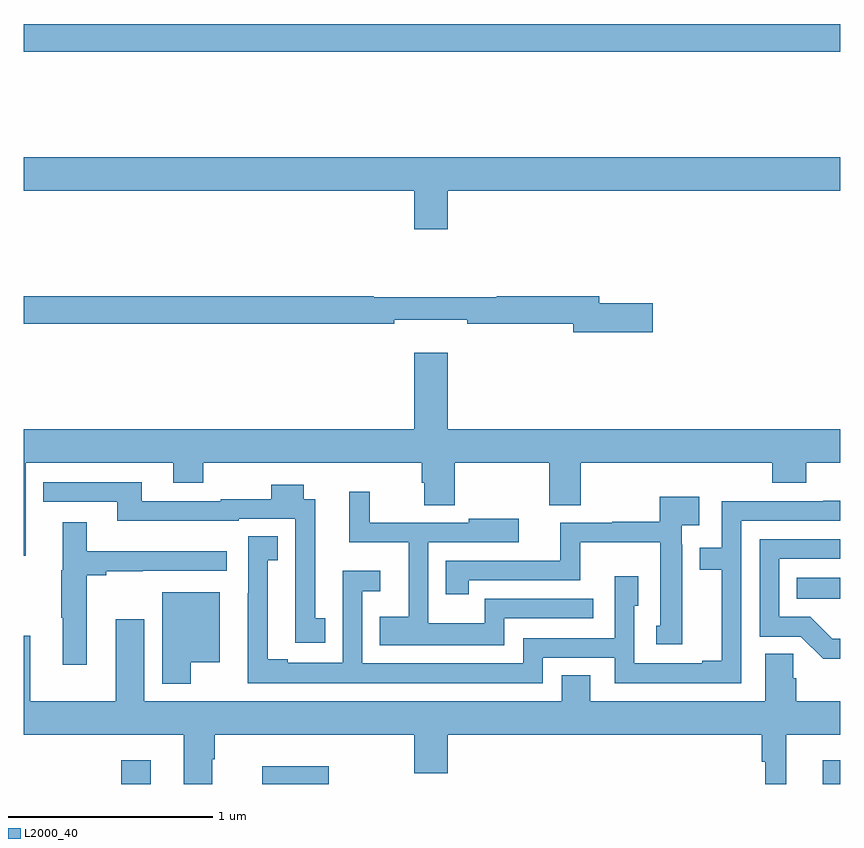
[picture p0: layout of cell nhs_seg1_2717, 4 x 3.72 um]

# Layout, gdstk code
import gdstk
lib = gdstk.Library(unit=1e-6, precision=1e-09)
def R(c, l, rs):  # rectangles x0, y0, x1, y1
    for r in rs: c.add(gdstk.rectangle(r[:2], r[2:], *l))
def P(c, l, *ps):  # polygons
    for p in ps: c.add(gdstk.Polygon(p, *l))
L2000_40 = (2000, 40)

nhs_seg1_2717 = lib.new_cell('nhs_seg1_2717')
R(nhs_seg1_2717, L2000_40, [(259.478,510.199,259.624,510.316), (260.169,510.199,260.494,510.286), (262.913,510.199,263,510.316), (262.786,511.106,263,511.21), (259,513.784,263,513.92)])
P(nhs_seg1_2717, L2000_40, [(261.076,513.104),(263,513.104),(263,513.268),(259,513.268),(259,513.104),(260.912,513.104),(260.912,512.916),(261.076,512.916)],
  [(262.081,512.552),(261.82,512.552),(261.82,512.588),(261.316,512.588),(261.316,512.581),(260.716,512.581),(260.716,512.588),(259,512.588),(259,512.452),(260.816,512.452),(260.816,512.471),(261.172,512.471),(261.172,512.452),(261.692,512.452),(261.692,512.41),(262.081,512.41)],
  [(259.011,511.772),(259.733,511.772),(259.733,511.673),(259.881,511.673),(259.881,511.772),(260.951,511.772),(260.951,511.674),(260.963,511.674),(260.963,511.564),(261.111,511.564),(261.111,511.772),(261.574,511.772),(261.574,511.564),(261.729,511.564),(261.729,511.772),(262.667,511.772),(262.667,511.673),(262.832,511.673),(262.832,511.772),(263,511.772),(263,511.936),(261.076,511.936),(261.076,512.311),(260.912,512.311),(260.912,511.936),(259,511.936),(259,511.317),(259.011,511.317)],
  [(260.477,511.011),(260.428,511.011),(260.428,511.593),(260.371,511.593),(260.371,511.663),(260.212,511.663),(260.212,511.594),(259.965,511.594),(259.965,511.584),(259.579,511.584),(259.579,511.677),(259.096,511.677),(259.096,511.581),(259.46,511.581),(259.46,511.487),(260.055,511.487),(260.055,511.497),(260.331,511.497),(260.331,511.214),(260.33,511.214),(260.33,510.891),(260.477,510.891)],
  [(261.354,511.011),(261.79,511.011),(261.79,511.107),(261.361,511.107),(261.361,511.106),(261.258,511.106),(261.258,510.985),(260.982,510.985),(260.982,511.383),(261.424,511.383),(261.424,511.498),(261.179,511.498),(261.179,511.479),(260.696,511.479),(260.696,511.63),(260.594,511.63),(260.594,511.382),(260.885,511.382),(260.885,511.018),(260.743,511.018),(260.743,510.878),(261.354,510.878)],
  [(262.225,511.37),(262.224,511.37),(262.224,511.466),(262.309,511.466),(262.309,511.606),(262.116,511.606),(262.116,511.484),(261.882,511.484),(261.882,511.479),(261.629,511.479),(261.629,511.293),(261.067,511.293),(261.067,511.128),(261.18,511.128),(261.18,511.197),(261.727,511.197),(261.727,511.382),(262.118,511.382),(262.118,510.975),(262.097,510.975),(262.097,510.882),(262.225,510.882)],
  [(260.555,510.693),(261.543,510.693),(261.543,510.816),(261.894,510.816),(261.894,510.693),(262.515,510.693),(262.515,511.488),(263,511.488),(263,511.586),(262.915,511.586),(262.915,511.584),(262.419,511.584),(262.419,511.356),(262.31,511.356),(262.31,511.248),(262.418,511.248),(262.418,510.802),(262.322,510.802),(262.322,510.789),(261.99,510.789),(261.99,511.071),(262.009,511.071),(262.009,511.216),(261.894,511.216),(261.894,510.912),(261.447,510.912),(261.447,510.789),(260.658,510.789),(260.658,511.142),(260.746,511.142),(260.746,511.243),(260.562,511.243),(260.562,510.793),(260.293,510.793),(260.293,510.811),(260.197,510.811),(260.197,511.294),(260.246,511.294),(260.246,511.412),(260.1,511.412),(260.1,511.134),(260.099,511.134),(260.099,510.692),(260.555,510.692)],
  [(259.309,511.222),(259.405,511.222),(259.405,511.24),(259.583,511.24),(259.583,511.242),(259.996,511.242),(259.996,511.339),(259.309,511.339),(259.309,511.48),(259.193,511.48),(259.193,511.245),(259.186,511.245),(259.186,511.012),(259.193,511.012),(259.193,510.783),(259.309,510.783)],
  [(263,510.909),(262.96,510.909),(262.852,511.017),(262.701,511.017),(262.701,511.302),(263,511.302),(263,511.398),(262.605,511.398),(262.605,510.921),(262.806,510.921),(262.916,510.812),(263,510.812)],
  [(259.819,510.794),(259.96,510.794),(259.96,511.138),(259.679,511.138),(259.679,510.689),(259.819,510.689)],
  [(259.451,511.006),(259.451,510.604),(259.033,510.604),(259.033,510.925),(259,510.925),(259,510.44),(259.784,510.44),(259.784,510.199),(259.924,510.199),(259.924,510.32),(259.937,510.32),(259.937,510.44),(260.912,510.44),(260.912,510.252),(261.076,510.252),(261.076,510.44),(262.614,510.44),(262.614,510.308),(262.631,510.308),(262.631,510.199),(262.735,510.199),(262.735,510.44),(263,510.44),(263,510.604),(262.784,510.604),(262.784,510.716),(262.769,510.716),(262.769,510.836),(262.631,510.836),(262.631,510.604),(261.775,510.604),(261.775,510.731),(261.635,510.731),(261.635,510.604),(259.591,510.604),(259.591,511.006)])

lib.write_gds('nhs_seg1_2717.gds')
